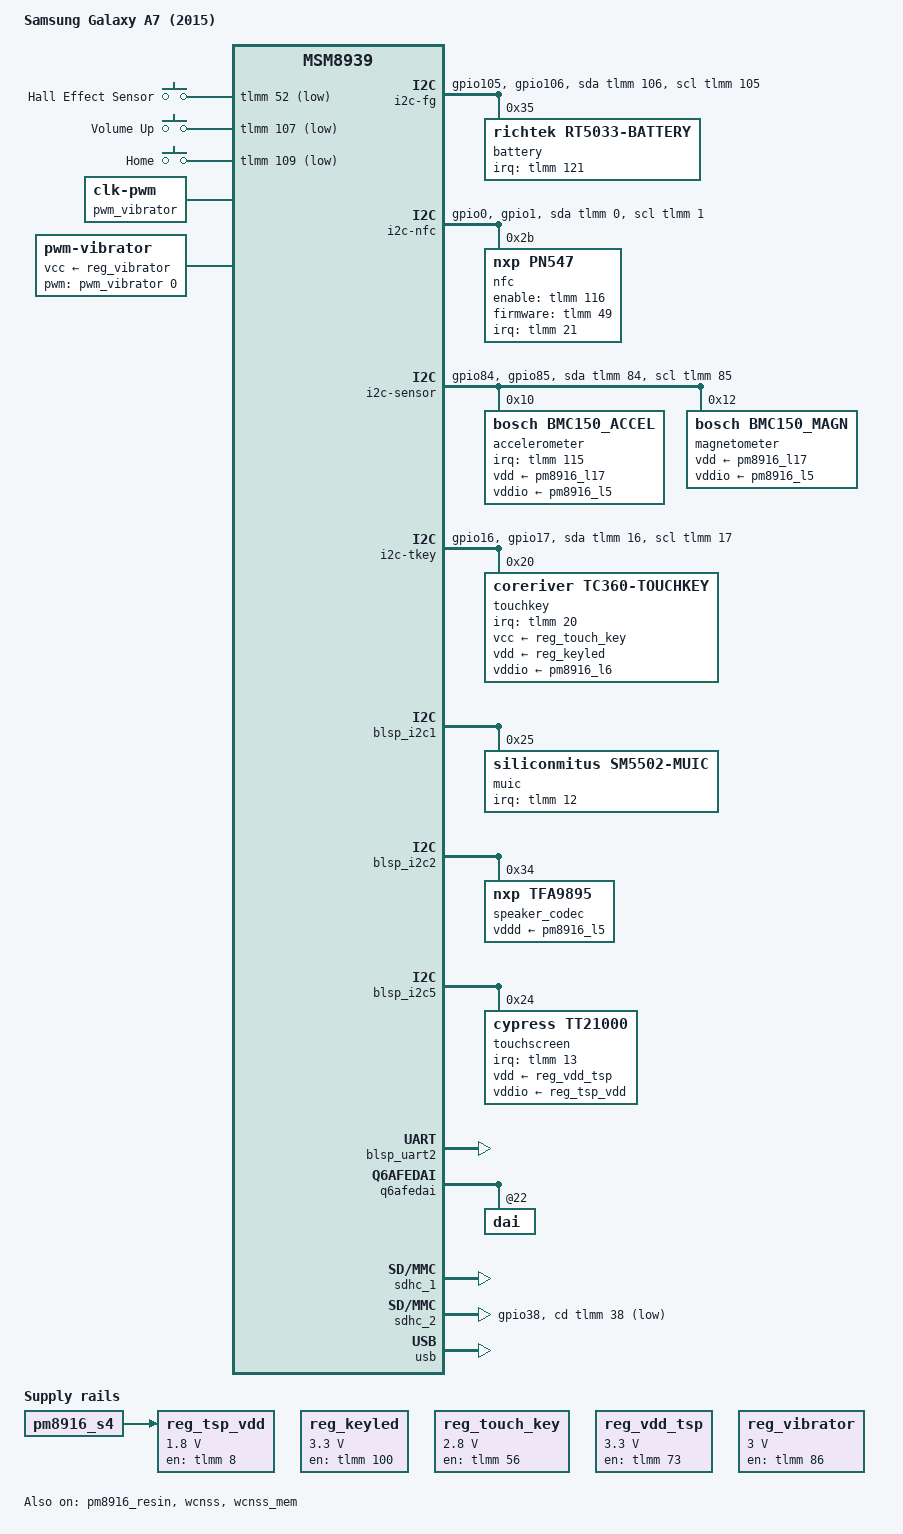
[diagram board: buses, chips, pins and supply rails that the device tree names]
// SPDX-License-Identifier: GPL-2.0-only

/dts-v1/;

#include "msm8939-pm8916.dtsi"
#include "msm8916-modem-qdsp6.dtsi"

#include <dt-bindings/gpio/gpio.h>
#include <dt-bindings/input/input.h>
#include <dt-bindings/interrupt-controller/irq.h>
#include <dt-bindings/sound/apq8016-lpass.h>

/ {
	model = "Samsung Galaxy A7 (2015)";
	compatible = "samsung,a7", "qcom,msm8939";
	chassis-type = "handset";

	aliases {
		mmc0 = &sdhc_1; /* SDC1 eMMC slot */
		mmc1 = &sdhc_2; /* SDC2 SD card slot */
		serial0 = &blsp_uart2;
	};

	chosen {
		stdout-path = "serial0";
	};

	reserved-memory {
		/* Additional memory used by Samsung firmware modifications */
		tz-apps@85500000 {
			reg = <0x0 0x85500000 0x0 0xb00000>;
			no-map;
		};
	};

	gpio-hall-sensor {
		compatible = "gpio-keys";

		pinctrl-0 = <&gpio_hall_sensor_default>;
		pinctrl-names = "default";

		label = "GPIO Hall Effect Sensor";

		event-hall-sensor {
			label = "Hall Effect Sensor";
			gpios = <&tlmm 52 GPIO_ACTIVE_LOW>;
			linux,input-type = <EV_SW>;
			linux,code = <SW_LID>;
			linux,can-disable;
		};
	};

	gpio-keys {
		compatible = "gpio-keys";

		pinctrl-0 = <&gpio_keys_default>;
		pinctrl-names = "default";

		label = "GPIO Buttons";

		button-volume-up {
			label = "Volume Up";
			gpios = <&tlmm 107 GPIO_ACTIVE_LOW>;
			linux,code = <KEY_VOLUMEUP>;
		};

		button-home {
			label = "Home";
			gpios = <&tlmm 109 GPIO_ACTIVE_LOW>;
			linux,code = <KEY_HOMEPAGE>;
		};
	};

	i2c-fg {
		compatible = "i2c-gpio";
		sda-gpios = <&tlmm 106 (GPIO_ACTIVE_HIGH|GPIO_OPEN_DRAIN)>;
		scl-gpios = <&tlmm 105 (GPIO_ACTIVE_HIGH|GPIO_OPEN_DRAIN)>;

		pinctrl-0 = <&fg_i2c_default>;
		pinctrl-names = "default";

		#address-cells = <1>;
		#size-cells = <0>;

		battery@35 {
			compatible = "richtek,rt5033-battery";
			reg = <0x35>;

			interrupt-parent = <&tlmm>;
			interrupts = <121 IRQ_TYPE_EDGE_BOTH>;

			pinctrl-0 = <&fg_alert_default>;
			pinctrl-names = "default";
		};
	};

	i2c-nfc {
		compatible = "i2c-gpio";
		sda-gpios = <&tlmm 0 (GPIO_ACTIVE_HIGH|GPIO_OPEN_DRAIN)>;
		scl-gpios = <&tlmm 1 (GPIO_ACTIVE_HIGH|GPIO_OPEN_DRAIN)>;

		pinctrl-0 = <&nfc_i2c_default>;
		pinctrl-names = "default";

		#address-cells = <1>;
		#size-cells = <0>;

		nfc@2b {
			compatible = "nxp,pn547", "nxp,nxp-nci-i2c";
			reg = <0x2b>;

			interrupt-parent = <&tlmm>;
			interrupts = <21 IRQ_TYPE_EDGE_RISING>;

			enable-gpios = <&tlmm 116 GPIO_ACTIVE_HIGH>;
			firmware-gpios = <&tlmm 49 GPIO_ACTIVE_HIGH>;

			pinctrl-0 = <&nfc_default>;
			pinctrl-names = "default";
		};
	};

	i2c-sensor {
		compatible = "i2c-gpio";
		sda-gpios = <&tlmm 84 (GPIO_ACTIVE_HIGH|GPIO_OPEN_DRAIN)>;
		scl-gpios = <&tlmm 85 (GPIO_ACTIVE_HIGH|GPIO_OPEN_DRAIN)>;

		pinctrl-0 = <&sensor_i2c_default>;
		pinctrl-names = "default";

		#address-cells = <1>;
		#size-cells = <0>;

		accelerometer: accelerometer@10 {
			compatible = "bosch,bmc150_accel";
			reg = <0x10>;
			interrupt-parent = <&tlmm>;
			interrupts = <115 IRQ_TYPE_EDGE_RISING>;

			vdd-supply = <&pm8916_l17>;
			vddio-supply = <&pm8916_l5>;

			pinctrl-0 = <&accel_int_default>;
			pinctrl-names = "default";

			mount-matrix = "-1", "0", "0",
					"0", "-1", "0",
					"0", "0", "1";
		};

		magnetometer@12 {
			compatible = "bosch,bmc150_magn";
			reg = <0x12>;

			vdd-supply = <&pm8916_l17>;
			vddio-supply = <&pm8916_l5>;
		};
	};

	i2c-tkey {
		compatible = "i2c-gpio";
		sda-gpios = <&tlmm 16 (GPIO_ACTIVE_HIGH|GPIO_OPEN_DRAIN)>;
		scl-gpios = <&tlmm 17 (GPIO_ACTIVE_HIGH|GPIO_OPEN_DRAIN)>;

		pinctrl-0 = <&tkey_i2c_default>;
		pinctrl-names = "default";

		#address-cells = <1>;
		#size-cells = <0>;

		touchkey@20 {
			/* Note: Actually an ABOV MCU that implements same interface */
			compatible = "coreriver,tc360-touchkey";
			reg = <0x20>;

			interrupt-parent = <&tlmm>;
			interrupts = <20 IRQ_TYPE_EDGE_FALLING>;

			vcc-supply = <&reg_touch_key>;
			vdd-supply = <&reg_keyled>;
			vddio-supply = <&pm8916_l6>;

			linux,keycodes = <KEY_APPSELECT KEY_BACK>;

			pinctrl-0 = <&tkey_default>;
			pinctrl-names = "default";
		};
	};

	pwm_vibrator: pwm-vibrator {
		compatible = "clk-pwm";
		#pwm-cells = <2>;

		clocks = <&gcc GCC_GP2_CLK>;

		pinctrl-0 = <&motor_pwm_default>;
		pinctrl-names = "default";
	};

	reg_keyled: regulator-keyled {
		compatible = "regulator-fixed";
		regulator-name = "keyled";
		regulator-min-microvolt = <3300000>;
		regulator-max-microvolt = <3300000>;

		/* NOTE: On some variants e.g. SM-A700FD it's GPIO 91 */
		gpio = <&tlmm 100 GPIO_ACTIVE_HIGH>;
		enable-active-high;

		pinctrl-0 = <&tkey_led_en_default>;
		pinctrl-names = "default";
	};

	reg_touch_key: regulator-touch-key {
		compatible = "regulator-fixed";
		regulator-name = "touch_key";
		regulator-min-microvolt = <2800000>;
		regulator-max-microvolt = <2800000>;

		gpio = <&tlmm 56 GPIO_ACTIVE_HIGH>;
		enable-active-high;

		pinctrl-0 = <&tkey_en_default>;
		pinctrl-names = "default";
	};

	reg_tsp_vdd: regulator-tsp-vdd {
		compatible = "regulator-fixed";
		regulator-name = "tsp_vdd";
		regulator-min-microvolt = <1800000>;
		regulator-max-microvolt = <1800000>;
		vin-supply = <&pm8916_s4>;

		gpio = <&tlmm 8 GPIO_ACTIVE_HIGH>;
		enable-active-high;

		pinctrl-0 = <&reg_tsp_io_en_default>;
		pinctrl-names = "default";
	};

	reg_vdd_tsp: regulator-vdd-tsp {
		compatible = "regulator-fixed";
		regulator-name = "vdd_tsp";
		regulator-min-microvolt = <3300000>;
		regulator-max-microvolt = <3300000>;

		gpio = <&tlmm 73 GPIO_ACTIVE_HIGH>;
		enable-active-high;

		pinctrl-0 = <&reg_tsp_en_default>;
		pinctrl-names = "default";
	};

	reg_vibrator: regulator-vibrator {
		compatible = "regulator-fixed";
		regulator-name = "motor_en";
		regulator-min-microvolt = <3000000>;
		regulator-max-microvolt = <3000000>;

		gpio = <&tlmm 86 GPIO_ACTIVE_HIGH>;
		enable-active-high;

		pinctrl-0 = <&motor_en_default>;
		pinctrl-names = "default";
	};

	vibrator {
		compatible = "pwm-vibrator";

		pwms = <&pwm_vibrator 0 100000>;
		pwm-names = "enable";

		vcc-supply = <&reg_vibrator>;
	};
};

&blsp_i2c1 {
	status = "okay";

	muic: extcon@25 {
		compatible = "siliconmitus,sm5502-muic";
		reg = <0x25>;

		interrupt-parent = <&tlmm>;
		interrupts = <12 IRQ_TYPE_EDGE_FALLING>;

		pinctrl-0 = <&muic_int_default>;
		pinctrl-names = "default";

		usb_con: connector {
			compatible = "usb-b-connector";
			label = "micro-USB";
			type = "micro";
		};
	};
};

&blsp_i2c2 {
	status = "okay";

	speaker_codec: audio-codec@34 {
		compatible = "nxp,tfa9895";
		reg = <0x34>;
		vddd-supply = <&pm8916_l5>;
		sound-name-prefix = "Speaker";
		#sound-dai-cells = <0>;
	};
};

&blsp_i2c5 {
	status = "okay";

	touchscreen@24 {
		compatible = "cypress,tt21000";

		reg = <0x24>;
		interrupt-parent = <&tlmm>;
		interrupts = <13 IRQ_TYPE_EDGE_FALLING>;

		vdd-supply = <&reg_vdd_tsp>;
		vddio-supply = <&reg_tsp_vdd>;

		pinctrl-0 = <&tsp_int_default>;
		pinctrl-names = "default";
	};
};

&blsp_uart2 {
	status = "okay";
};

/*
 * For some reason the speaker amplifier is connected to the second SD line
 * (MI2S_2_D1) instead of the first (MI2S_2_D0). This must be configured in the
 * device tree, otherwise audio will seemingly play fine on the wrong SD line
 * but the speaker stays silent.
 *
 * When routing audio via QDSP6 (the default) the &lpass node is reserved and
 * the definitions from &q6afedai are used. When the modem is disabled audio can
 * be alternatively routed directly to the LPASS hardware with reduced latency.
 * The definitions for &lpass are here for completeness to simplify changing the
 * setup with minor changes to the DT (either manually or with DT overlays).
 */
&lpass {
	dai-link@3 {
		reg = <MI2S_QUATERNARY>;
		qcom,playback-sd-lines = <1>;
	};
};

&mpss_mem {
	reg = <0x0 0x86800000 0x0 0x5800000>;
};

&pm8916_resin {
	linux,code = <KEY_VOLUMEDOWN>;
	status = "okay";
};

&pm8916_rpm_regulators {
	pm8916_l17: l17 {
		regulator-min-microvolt = <2850000>;
		regulator-max-microvolt = <2850000>;
	};
};

&q6afedai {
	dai@22 {
		reg = <QUATERNARY_MI2S_RX>;
		qcom,sd-lines = <1>;
	};
};

&sdhc_1 {
	status = "okay";
};

&sdhc_2 {
	pinctrl-0 = <&sdc2_default &sdc2_cd_default>;
	pinctrl-1 = <&sdc2_sleep &sdc2_cd_default>;
	pinctrl-names = "default", "sleep";

	cd-gpios = <&tlmm 38 GPIO_ACTIVE_LOW>;

	status = "okay";
};

&sound {
	model = "samsung-a2015";
	audio-routing =
		"AMIC1", "MIC BIAS External1",
		"AMIC2", "MIC BIAS Internal2",
		"AMIC3", "MIC BIAS External1";

	pinctrl-0 = <&cdc_pdm_default &sec_mi2s_default>;
	pinctrl-1 = <&cdc_pdm_sleep &sec_mi2s_sleep>;
	pinctrl-names = "default", "sleep";

	sound_link_backend2: backend2-dai-link {
		link-name = "Quaternary MI2S";

		cpu {
			sound-dai = <&q6afedai QUATERNARY_MI2S_RX>;
		};
		platform {
			sound-dai = <&q6routing>;
		};
		codec {
			sound-dai = <&speaker_codec>;
		};
	};
};

&usb {
	extcon = <&muic>, <&muic>;
	status = "okay";
};

&usb_hs_phy {
	extcon = <&muic>;
};

&wcnss {
	status = "okay";
};

&wcnss_iris {
	compatible = "qcom,wcn3660b";
};

&wcnss_mem {
	status = "okay";
};

&tlmm {
	accel_int_default: accel-int-default-state {
		pins = "gpio115";
		function = "gpio";
		drive-strength = <2>;
		bias-disable;
	};

	fg_alert_default: fg-alert-default-state {
		pins = "gpio121";
		function = "gpio";
		drive-strength = <2>;
		bias-disable;
	};

	fg_i2c_default: fg-i2c-default-state {
		pins = "gpio105", "gpio106";
		function = "gpio";
		drive-strength = <2>;
		bias-disable;
	};

	gpio_hall_sensor_default: gpio-hall-sensor-default-state {
		pins = "gpio52";
		function = "gpio";
		drive-strength = <2>;
		bias-disable;
	};

	gpio_keys_default: gpio-keys-default-state {
		pins = "gpio107", "gpio109";
		function = "gpio";
		drive-strength = <2>;
		bias-pull-up;
	};

	motor_en_default: motor-en-default-state {
		pins = "gpio86";
		function = "gpio";
		drive-strength = <2>;
		bias-disable;
	};

	motor_pwm_default: motor-pwm-default-state {
		pins = "gpio50";
		function = "gcc_gp2_clk_a";
	};

	muic_int_default: muic-int-default-state {
		pins = "gpio12";
		function = "gpio";
		drive-strength = <2>;
		bias-disable;
	};

	nfc_default: nfc-default-state {
		irq-pins {
			pins = "gpio21";
			function = "gpio";
			drive-strength = <2>;
			bias-pull-down;
		};

		nfc-pins {
			pins = "gpio49", "gpio116";
			function = "gpio";
			drive-strength = <2>;
			bias-disable;
		};
	};

	nfc_i2c_default: nfc-i2c-default-state {
		pins = "gpio0", "gpio1";
		function = "gpio";
		drive-strength = <2>;
		bias-disable;
	};

	reg_tsp_en_default: reg-tsp-en-default-state {
		pins = "gpio73";
		function = "gpio";
		drive-strength = <2>;
		bias-disable;
	};

	reg_tsp_io_en_default: reg-tsp-io-en-default-state {
		pins = "gpio8";
		function = "gpio";
		drive-strength = <2>;
		bias-disable;
	};

	sdc2_cd_default: sdc2-cd-default-state {
		pins = "gpio38";
		function = "gpio";
		drive-strength = <2>;
		bias-disable;
	};

	sensor_i2c_default: sensor-i2c-default-state {
		pins = "gpio84", "gpio85";
		function = "gpio";
		drive-strength = <2>;
		bias-disable;
	};

	tkey_default: tkey-default-state {
		pins = "gpio20";
		function = "gpio";
		drive-strength = <2>;
		bias-disable;
	};

	tkey_en_default: tkey-en-default-state {
		pins = "gpio56";
		function = "gpio";
		drive-strength = <2>;
		bias-disable;
	};

	tkey_i2c_default: tkey-i2c-default-state {
		pins = "gpio16", "gpio17";
		function = "gpio";
		drive-strength = <2>;
		bias-disable;
	};

	tkey_led_en_default: tkey-led-en-default-state {
		pins = "gpio100";
		function = "gpio";
		drive-strength = <2>;
		bias-disable;
	};

	tsp_int_default: tsp-int-default-state {
		pins = "gpio13";
		function = "gpio";
		drive-strength = <2>;
		bias-disable;
	};
};
